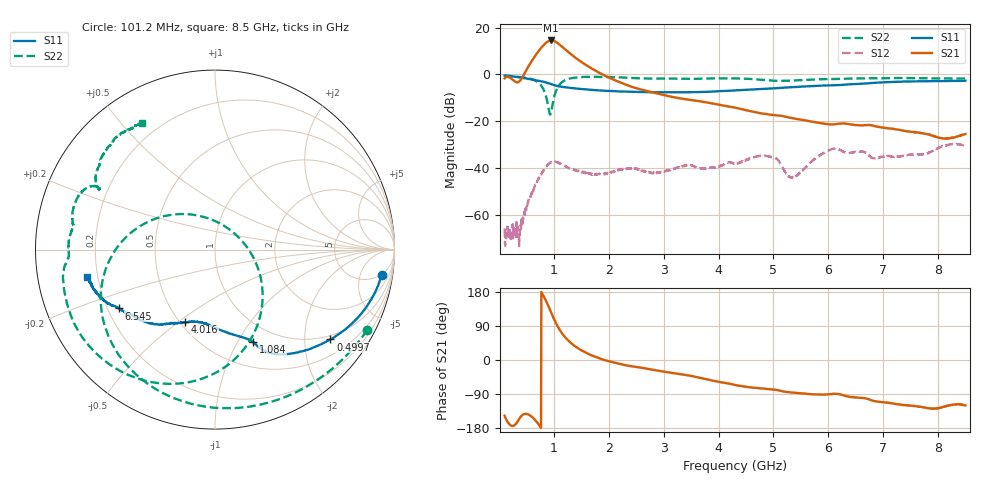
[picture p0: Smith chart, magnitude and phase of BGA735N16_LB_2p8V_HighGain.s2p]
! S-Parameter file
! MATLAB S2P writer
! (c) DICE Linz
! Infineon Technologies
! Date: 09.09.2009 10:38
!BGA735N16
!2.80V; 2.80V;
!25.00 deg
# MHZ S MA R 50
!  S11  S21  S12  S22
!  f  mag  angle  mag  angle  mag  angle  mag  angle
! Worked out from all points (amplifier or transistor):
!   1582 points, 101.2 MHz to 8.5 GHz, reference 50 ohm
!   highest |S21| = 14.5 dB at 945.9 MHz (marker M1)
!   |S21| within 3 dB of that: 773.4 MHz to 1.166 GHz (392.9 MHz wide, 40.5 % of centre)
!   unconditionally stable (mu >= 1): start of sweep to end of sweep
!   at 1.498 GHz: K = 5.83, MAG = 12.9 dB, |S12| = -41.8 dB
!   at 4.303 GHz: K = 54.73, MAG = -8.4 dB, |S12| = -38.2 dB
!   at 8.5 GHz: K = 51.29, MAG = -17.4 dB, |S12| = -30.8 dB
!   lowest NFmin = 0.81 dB at 740 MHz
!   S11 on the Smith chart (normalised r, x): 101.2 MHz: 5, -11; 499.7 MHz: 0.89, -2.65; 1.084 GHz: 0.78, -1.16; 4.016 GHz: 0.53, -0.53; 6.545 GHz: 0.25, -0.27; 8.5 GHz: 0.16, -0.10
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101.2339  0.9385 -8.7  0.8204 -147.1  0.0005118 102.3  0.9589 -28.0
276.5403  0.8948 -22.4  0.7184 -172.7  0.0004789 102.5  0.9056 -68.3
499.6574  0.8145 -37.9  1.246 -142.2  0.001357 156.3  0.8424 -113.9
637.7775  0.7639 -46.5  2.29 -155.2  0.003637 157.0  0.758 -142.5
738.7114  0.726 -52.6  3.341 -173.3  0.006459 146.5  0.6312 -167.7
855.5823  0.6737 -59.8  4.724 156.2  0.01067 123.2  0.3397 146.7
945.8916  0.6222 -64.4  5.301 126.2  0.01334 98.5  0.1504 24.9
1009.639  0.5867 -66.3  5.119 105.5  0.01352 82.0  0.349 -40.7
1084.012  0.5563 -67.6  4.514 84.7  0.01285 66.5  0.5633 -71.8
1153.072  0.539 -69.0  3.874 69.3  0.01169 56.9  0.6911 -90.4
1232.756  0.5238 -70.7  3.216 55.5  0.01065 49.2  0.7771 -106.0
1503.684  0.4853 -77.7  1.83 25.4  0.007979 41.9  0.8761 -136.8
1933.982  0.4457 -87.0  0.933 -0.7  0.007806 50.7  0.8759 -160.8
2900.823  0.414 -98.7  0.3854 -28.2  0.008067 47.5  0.8171 178.6
4016.408  0.4375 -112.1  0.2236 -57.9  0.0108 55.0  0.8216 164.0
4303.273  0.4539 -115.9  0.1939 -65.8  0.01226 48.9  0.8192 159.5
5004.498  0.5042 -124.5  0.1349 -78.0  0.01681 16.8  0.7334 151.8
5339.174  0.5338 -128.9  0.1162 -85.8  0.00628 35.5  0.7362 152.2
5700.411  0.5611 -134.3  0.09812 -90.3  0.01367 77.0  0.7721 149.5
6545.069  0.6261 -148.4  0.08215 -99.3  0.02235 28.1  0.8189 139.2
7102.862  0.685 -156.0  0.06993 -112.7  0.01793 26.8  0.8295 133.2
8500  0.7308 -168.0  0.05321 -119.8  0.02877 -13.8  0.814 119.8
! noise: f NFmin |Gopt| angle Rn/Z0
740  0.81  0.475  47  10.7
750  0.82  0.428  49  10.8
880  0.9  0.411  63  9.3
930  0.83  0.485  57  9.3
